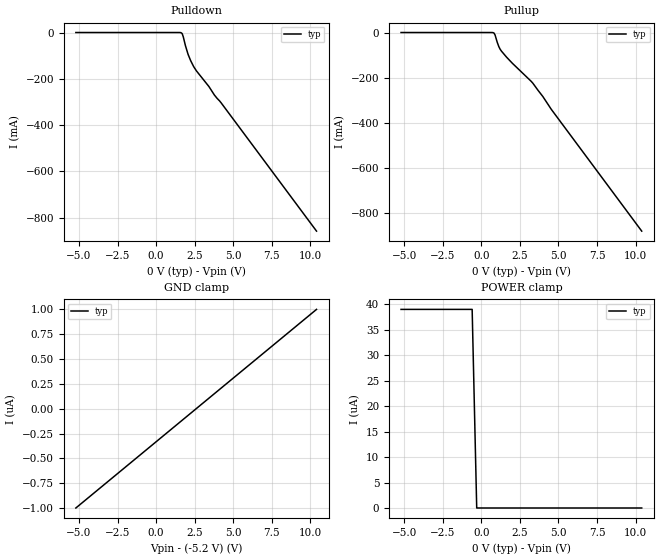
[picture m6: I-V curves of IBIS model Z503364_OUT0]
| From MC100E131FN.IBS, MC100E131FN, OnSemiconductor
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| (C) COPYRIGHT 1993-2000
| MENTOR GRAPHICS CORPORATION
| ICX STANDARD LIBRARY, ICX PROJECT MODELING,
| ICX CUSTOM MODELING, ICX VENDOR MODEL
| ALL RIGHTS RESERVED.
| THE FOLLOWING ARE TRADEMARKS OR SERVICE MARKS OF
| MENTOR GRAPHICS CORPORATION:ICX (R), ICX STANDARD
| LIBRARY(R), ICX PROJECT MODELING(R), ICX CUSTOM
| MODELING(R), qualityIBIS(TM), MODELVIEWER(TM),
| AND MODELEDITOR(TM)
| ALL COPIES OF SOFTWARE, INCLUDING BUT NOT LIMITED TO
| ANY MODIFICATIONS, ENHANCEMENTS OR DERIVATIVE WORKS,
| MUST CONTAIN ALL MENTOR GRAPHICS CORPORATION'S
| NOTICES AND LEGENDS, INCLUDING THOSE EMBEDDED IN
| SOFTWARE AND THOSE AFFIXED TO SOFTWARE MEDIUM
| AND CONTAINER, AS RECEIVED FROM MENTOR GRAPHICS
| CORPORATION.
| Model Application Version 1.89 2/18/99.
[Model] Z503364_OUT0
Model_type Output_ECL
Vref=-2.000V
Rref=50.00ohms
Cref=0.000F
Vmeas=-1.320V
C_comp 8.000pF NA NA
| variable typ   min   max
[Voltage Range] -5.200V NA NA
[POWER Clamp Reference] 0.000V NA NA
[Pullup Reference] 0.000V NA NA
[Pulldown Reference] 0.000V NA NA
[GND Clamp Reference] -5.200V NA NA
[GND Clamp]
-5.2V     -1uA       NA         NA
10.4V     1uA        NA         NA
[Pulldown]
-5.2V     53.15uA    NA         NA
1.66V     -2.614mA   NA         NA
1.764V    -18.85mA   NA         NA
1.899V    -55.96mA   NA         NA
2.075V    -94.62mA   NA         NA
2.246V    -122.3mA   NA         NA
2.438V    -147.6mA   NA         NA
2.617V    -166mA     NA         NA
3.427V    -233.7mA   NA         NA
3.78V     -270.3mA   NA         NA
4.208V    -303.3mA   NA         NA
10.4V     -858.7mA   NA         NA
[Pullup]
-5.2V     58.94uA    NA         NA
824mV     -2.403mA   NA         NA
893.5mV   -10.73mA   NA         NA
1.035V    -43.27mA   NA         NA
1.138V    -62.37mA   NA         NA
1.314V    -82.93mA   NA         NA
2.012V    -136mA     NA         NA
3.335V    -223.7mA   NA         NA
3.989V    -283.3mA   NA         NA
4.541V    -340.5mA   NA         NA
10.4V     -879.8mA   NA         NA
[POWER Clamp]
-5.2V     39.02uA    NA         NA
-590.7mV  39.02uA    NA         NA
-295.3mV  0A         NA         NA
10.4V     0A         NA         NA
[Ramp]
| variable typ min max
dV/dt_r 455.3m/715.4p NA NA
dV/dt_f 455.3m/567.9p NA NA
R_load = 50.00Ohms
